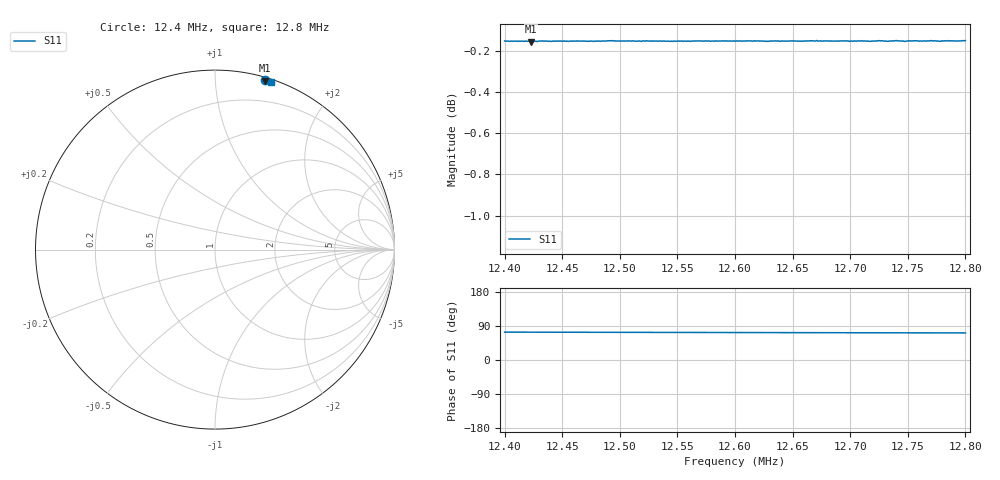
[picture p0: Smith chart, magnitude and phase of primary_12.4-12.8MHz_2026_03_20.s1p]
# HZ S RI R 50
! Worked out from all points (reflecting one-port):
!   401 points, 12.4 MHz to 12.8 MHz, reference 50 ohm
!   lowest |S11| = -0.2 dB at 12.423 MHz (marker M1), VSWR 112.87, Z = 1.24 + j67 ohm
!   phase of S11 starts at 74 deg and turns -2 deg over the sweep
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1.24e7  0.2785 0.9425
1.2423e7  0.2803 0.9416
1.2432e7  0.2812 0.9416
1.245e7  0.2827 0.941
1.2478e7  0.2853 0.9404
1.2491e7  0.2864 0.9402
1.25e7  0.2868 0.9399
1.2509e7  0.2879 0.9396
1.2529e7  0.2897 0.9392
1.255e7  0.2915 0.9385
1.2561e7  0.2922 0.9381
1.2581e7  0.2942 0.9376
1.2589e7  0.2949 0.9376
1.26e7  0.2958 0.9371
1.2619e7  0.2974 0.9367
1.2628e7  0.2983 0.9362
1.2633e7  0.2985 0.9363
1.2642e7  0.2995 0.9359
1.265e7  0.2999 0.936
1.2656e7  0.3006 0.9356
1.2666e7  0.3014 0.9354
1.2686e7  0.3032 0.9348
1.2694e7  0.3039 0.9346
1.27e7  0.3045 0.9342
1.2739e7  0.3078 0.9334
1.275e7  0.3086 0.933
1.2794e7  0.3124 0.9319
1.28e7  0.313 0.9318
